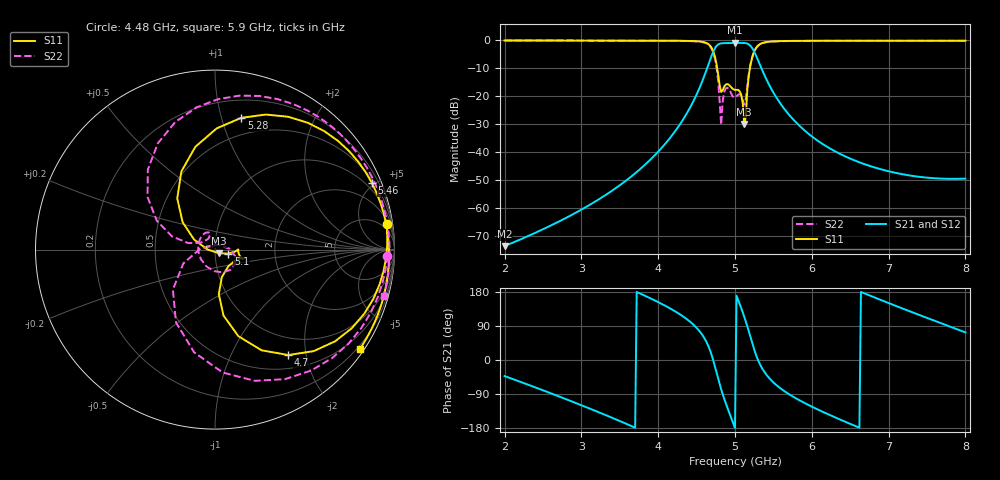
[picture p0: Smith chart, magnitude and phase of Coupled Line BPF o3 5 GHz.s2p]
! Sonnet Data File
! From: sonnet Version : 18.53-Lite
! From Emgraph Data:
! Data File Written: 03/28/2024 18:11:55
!< HDATE 03/28/2024 17:47:38
!< MDATE 03/28/2024 17:47:38
!< PARAMS
!< W1 = 0.76
!< L1 = 8.93
!< L2 = 8.78
!< W2 = 1.09
!< END PARAMS
# GHZ S MA R 50.00000
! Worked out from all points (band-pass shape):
!   301 points, 2 GHz to 8 GHz, reference 50 ohm
!   highest |S21| = -0.90 dB at 5 GHz (marker M1); lowest = -73.7 dB at 2 GHz (marker M2)
!   |S21| within 3 dB of the highest: 4.72 GHz to 5.247 GHz (526.8 MHz wide, 10.6 % of centre)
!   lowest |S11| = -29.9 dB at 5.12 GHz (marker M3), VSWR 1.07, Z = 52.4 - j2.2 ohm
!   |S11| at or under -10 dB: 4.768 GHz to 5.194 GHz (426.4 MHz wide, 8.56 % of centre)
!   |S22| runs from -30.3 to -0.1 dB; largest |S21 - S12| = 1e-13
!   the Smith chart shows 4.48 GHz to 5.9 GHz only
!   S11 on the Smith chart (normalised r, x): 4.48 GHz: 3, +13; 4.7 GHz: 0.70, -1.69; 5.1 GHz: 1.16, -0.05; 5.28 GHz: 0.35, +1.16; 5.46 GHz: 0.64, +4.86; 5.9 GHz: 0.12, -3.20
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2  0.9942 -132.5  0.0002074 -42.5  0.0002074 -42.5  0.9942 -131.5
3  0.9903 151.7  0.0009352 -119.4  0.0009352 -119.4  0.9902 152.7
3.54  0.9881 107.3  0.002801 -164.5  0.002801 -164.5  0.9875 107.6
4  0.9854 66.1  0.01017 152.7  0.01017 152.7  0.9839 64.2
4.48  0.9673 8.6  0.09374 89.1  0.09374 89.1  0.9604 -2.1
4.6  0.9238 -17.3  0.2299 58.1  0.2299 58.1  0.91 -35.1
4.7  0.7155 -55.2  0.5498 10.4  0.5498 10.4  0.6861 -86.4
4.76  0.3705 -82.6  0.794 -33.9  0.794 -33.9  0.324 -136.4
4.82  0.1188 -50.8  0.883 -77.8  0.883 -77.8  0.03064 62.0
4.88  0.1618 -17.9  0.8917 -114.3  0.8917 -114.3  0.1382 -35.8
5  0.1298 -3.5  0.9017 -179.4  0.9017 -179.4  0.0938 -176.0
5.1  0.0773 -16.5  0.898 126.1  0.898 126.1  0.08629 107.3
5.12  0.03181 -41.2  0.8955 114.4  0.8955 114.4  0.07039 123.2
5.2  0.3545 126.4  0.8003 61.3  0.8003 61.3  0.3624 153.6
5.28  0.7486 78.7  0.5095 9.9  0.5095 9.9  0.7438 107.4
5.46  0.95 22.9  0.1456 -51.1  0.1456 -51.1  0.9442 47.0
5.9  0.9788 -34.6  0.02478 -112.9  0.02478 -112.9  0.9762 -15.5
6  0.9799 -44.4  0.01911 -123.1  0.01911 -123.1  0.9775 -25.7
6.48  0.9818 -87.1  0.007862 -166.8  0.007862 -166.8  0.9802 -69.3
7  0.9821 -129.7  0.004541 150.2  0.004541 150.2  0.9806 -111.8
7.5  0.9817 -168.8  0.003489 111.1  0.003489 111.1  0.9803 -150.8
8  0.981 153.4  0.003356 72.8  0.003356 72.8  0.9803 171.6
